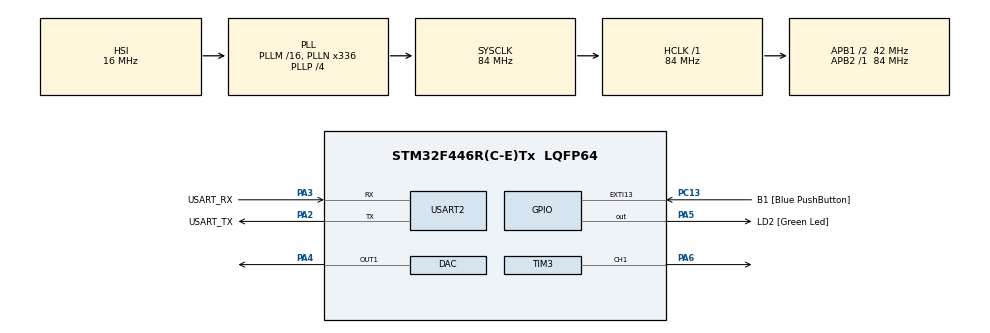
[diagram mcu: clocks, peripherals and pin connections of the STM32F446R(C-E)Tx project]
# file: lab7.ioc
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Mcu.Family=STM32F4
Mcu.Name=STM32F446R(C-E)Tx
Mcu.Package=LQFP64
NVIC.PriorityGroup=NVIC_PRIORITYGROUP_0
NVIC.TIM6_DAC_IRQn=true\:0\:0\:false\:false\:true\:true\:true\:true
PA13.GPIO_Label=TMS
PA13.Signal=SYS_JTMS-SWDIO
PA14.GPIO_Label=TCK
PA14.Signal=SYS_JTCK-SWCLK
PA2.GPIO_Label=USART_TX
PA2.Mode=Asynchronous
PA2.Signal=USART2_TX
PA3.GPIO_Label=USART_RX
PA3.Mode=Asynchronous
PA3.Signal=USART2_RX
PA4.Signal=COMP_DAC1_group
PA5.GPIO_Label=LD2 [Green Led]
PA5.Signal=GPIO_Output
PA6.Signal=S_TIM3_CH1
PB3.GPIO_Label=SWO
PB3.Signal=SYS_JTDO-SWO
PC13.GPIO_Label=B1 [Blue PushButton]
PC13.GPIO_ModeDefaultEXTI=GPIO_MODE_IT_FALLING
PC13.Signal=GPXTI13
PC14-OSC32_IN.Signal=RCC_OSC32_IN
PC15-OSC32_OUT.Signal=RCC_OSC32_OUT
PH0-OSC_IN.Signal=RCC_OSC_IN
PH1-OSC_OUT.Signal=RCC_OSC_OUT
ProjectManager.HeapSize=0x200
ProjectManager.StackSize=0x400
ProjectManager.TargetToolchain=STM32CubeIDE
RCC.AHBFreq_Value=84000000
RCC.APB1CLKDivider=RCC_HCLK_DIV2
RCC.APB1Freq_Value=42000000
RCC.APB1TimFreq_Value=84000000
RCC.APB2Freq_Value=84000000
RCC.APB2TimFreq_Value=84000000
RCC.CortexFreq_Value=84000000
RCC.FLatency-AdvancedSettings=FLASH_LATENCY_2
RCC.HCLKFreq_Value=84000000
RCC.HSE_VALUE=8000000
RCC.HSI_VALUE=16000000
RCC.LSE_VALUE=32768
RCC.PLLN=336
RCC.PLLP=RCC_PLLP_DIV4
RCC.SYSCLKFreq_VALUE=84000000
RCC.SYSCLKSource=RCC_SYSCLKSOURCE_PLLCLK
RCC.USBFreq_Value=168000000
RCC.VCOOutputFreq_Value=336000000
SH.COMP_DAC1_group.0=DAC_OUT1,DAC_OUT1
SH.S_TIM3_CH1.0=TIM3_CH1,PWM Generation1 CH1
TIM3.AutoReloadPreload=TIM_AUTORELOAD_PRELOAD_ENABLE
TIM3.Channel-PWM\ Generation1\ CH1=TIM_CHANNEL_1
TIM3.Period=1000
TIM3.Prescaler=83
TIM6.AutoReloadPreload=TIM_AUTORELOAD_PRELOAD_ENABLE
TIM6.Period=49
TIM6.Prescaler=83
USART2.VirtualMode=VM_ASYNC
VP_TIM3_VS_ClockSourceINT.Mode=Internal
VP_TIM6_VS_ClockSourceINT.Mode=Enable_Timer
board=NUCLEO-F446RE

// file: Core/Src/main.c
/* USER CODE BEGIN Header */
/**
  ******************************************************************************
  * @file           : main.c
  * @brief          : - Laboratorio 7 (Reproductor de Audio)
  ******************************************************************************
  */
/* USER CODE END Header */
#include "main.h"

/* USER CODE BEGIN Includes */
#include <stdio.h>
#include <string.h>
/* USER CODE END Includes */

/* USER CODE BEGIN PD */
/* --- Frecuencias de las notas musicales (en Hz)  */
#define NOTE_C4   262
#define NOTE_CS4  277
#define NOTE_D4   294
#define NOTE_DS4  311
#define NOTE_E4   330
#define NOTE_F4   349
#define NOTE_FS4  370
#define NOTE_G4   392
#define NOTE_GS4  415
#define NOTE_A4   440
#define NOTE_AS4  466
#define NOTE_B4   494
#define NOTE_C5   523
#define NOTE_CS5  554
#define NOTE_D5   587
#define NOTE_DS5  622
#define NOTE_E5   659
#define NOTE_F5   698
#define NOTE_FS5  740
#define NOTE_G5   784
#define NOTE_GS5  831
#define NOTE_A5   880
#define REST      0
/* USER CODE END PD */

DAC_HandleTypeDef hdac;

TIM_HandleTypeDef htim3;
TIM_HandleTypeDef htim6;

UART_HandleTypeDef huart2;

/* USER CODE BEGIN PV */
/* TEMA 1: SUPER MARIO BROS (~10 Segundos) ==================== */
const uint16_t mario_notes[] = {
    NOTE_E5, NOTE_E5, REST,    NOTE_E5, REST,    NOTE_C5, NOTE_E5, REST,
    NOTE_G5, REST,    NOTE_G4, REST,
    NOTE_C5, REST,    NOTE_G4, REST,    NOTE_E4, REST,
    NOTE_A4, REST,    NOTE_B4, REST,    NOTE_AS4, NOTE_A4, REST,
    NOTE_G4, NOTE_E5, NOTE_G5, NOTE_A5, REST,    NOTE_F5, NOTE_G5,
    REST,    NOTE_E5, REST,    NOTE_C5, NOTE_D5, NOTE_B4
};

const uint16_t mario_durations[] = {
    150, 150, 150, 150, 150, 150, 300, 150,
    450, 400, 450, 400,
    350, 200, 350, 200, 350, 200,
    300, 150, 300, 150, 200, 250, 150,
    250, 250, 250, 350, 150, 200, 350,
    150, 300, 150, 200, 200, 1000
};
const uint16_t MARIO_LEN = sizeof(mario_notes) / sizeof(mario_notes[0]);

/* TEMA 2: STAR WARS - MARCHA IMPERIAL 10s) ==================== */
const uint16_t starwars_notes[] = {
    NOTE_A4, NOTE_A4, NOTE_A4, NOTE_F4, NOTE_C5,
    NOTE_A4, NOTE_F4, NOTE_C5, NOTE_A4, REST,
    NOTE_E5, NOTE_E5, NOTE_E5, NOTE_F5, NOTE_C5,
    NOTE_GS4, NOTE_F4, NOTE_C5, NOTE_A4, REST,
    NOTE_A5, NOTE_A4, NOTE_A4, NOTE_A5, NOTE_GS5, NOTE_A5
};

const uint16_t starwars_durations[] = {
    500, 500, 500, 350, 150,
    500, 350, 150, 650, 350,
    500, 500, 500, 350, 150,
    500, 350, 150, 650, 350,
    500, 250, 250, 400, 300, 300
};
const uint16_t STARWARS_LEN = sizeof(starwars_notes) / sizeof(starwars_notes[0]);

/* Tabla senoidal precalculada de 64 muestras (12 bits) para el DAC */
const uint16_t sine_lut[64] = {
    2048, 2248, 2447, 2642, 2831, 3013, 3185, 3346,
    3495, 3630, 3750, 3853, 3939, 4007, 4056, 4085,
    4095, 4085, 4056, 4007, 3939, 3853, 3750, 3630,
    3495, 3346, 3185, 3013, 2831, 2642, 2447, 2248,
    2048, 1847, 1648, 1453, 1264, 1082,  910,  749,
     600,  465,  345,  242,  156,   88,   39,   10,
       0,   10,   39,   88,  156,  242,  345,  465,
     600,  749,  910, 1082, 1264, 1453, 1648, 1847
};

volatile uint32_t dac_phase_acc = 0;
volatile uint32_t dac_phase_step = 0;
/* USER CODE END PV */

void SystemClock_Config(void);
static void MX_GPIO_Init(void);
static void MX_TIM3_Init(void);
static void MX_USART2_UART_Init(void);
static void MX_DAC_Init(void);
static void MX_TIM6_Init(void);
/* USER CODE BEGIN PFP */
void Tocar_Tono(uint32_t freq);
void DAC_PlayTone(uint32_t freq);
void Reproducir_Tema1_Mario(void);
void Reproducir_Tema2_StarWars(void);
void Mostrar_Menu(void);
/* USER CODE END PFP */

/* USER CODE BEGIN 0 */
// Redirección de printf a la terminal USART2 (USB)
int __io_putchar(int ch) {
    HAL_UART_Transmit(&huart2, (uint8_t *)&ch, 1, HAL_MAX_DELAY);
    return ch;
}

// Configura la frecuencia del PWM en TIM3 Canal 1 (Pin PA6)
void Tocar_Tono(uint32_t freq) {
    if (freq == 0) {
        __HAL_TIM_SET_COMPARE(&htim3, TIM_CHANNEL_1, 0); // Silencio
    } else {
        // Reloj del Timer = 1 MHz -> Periodo (ARR) = (1,000,000 / freq) - 1
        uint32_t arr = (1000000 / freq) - 1;
        __HAL_TIM_SET_AUTORELOAD(&htim3, arr);
        __HAL_TIM_SET_COMPARE(&htim3, TIM_CHANNEL_1, arr / 2); // Ciclo de trabajo al 50%
    }
}

// Configura el tono analógico para el DAC (Pin PA4)
void DAC_PlayTone(uint32_t freq) {
    if (freq == 0) {
        dac_phase_step = 0;
        HAL_DAC_SetValue(&hdac, DAC_CHANNEL_1, DAC_ALIGN_12B_R, 0);
    } else {
        // Incremento de fase para TIM6 a 20 kHz
        dac_phase_step = (uint32_t)(((uint64_t)freq * 64 * 65536) / 20000);
    }
}

// Reproduce Tema 1 por PWM
void Reproducir_Tema1_Mario(void) {
    // Apagar DAC para la Forma B
    HAL_TIM_Base_Stop_IT(&htim6);
    HAL_DAC_Stop(&hdac, DAC_CHANNEL_1);
    HAL_DAC_SetValue(&hdac, DAC_CHANNEL_1, DAC_ALIGN_12B_R, 0);

    printf("\r\n Reproduce 1: Super Mario Bros (10s\r\n");
    HAL_TIM_PWM_Start(&htim3, TIM_CHANNEL_1);

    for (int i = 0; i < MARIO_LEN; i++) {
        Tocar_Tono(mario_notes[i]);
        HAL_Delay(mario_durations[i] * 0.85); // 85% sonando la nota

        Tocar_Tono(REST);
        HAL_Delay(mario_durations[i] * 0.15); // 15% pausa entre notas
    }

    Tocar_Tono(REST);
    HAL_TIM_PWM_Stop(&htim3, TIM_CHANNEL_1);
    printf(" Fin de reproduccion Audio 1.\r\n");
}

// Reproduce Tema 2 por DAC
void Reproducir_Tema2_StarWars(void) {
    // Apagar PWM para la Forma B
    Tocar_Tono(REST);
    HAL_TIM_PWM_Stop(&htim3, TIM_CHANNEL_1);

    printf("\r\n Reproduce 2: Star Wars Marcha Imperial (DAC)\r\n");
    HAL_DAC_Start(&hdac, DAC_CHANNEL_1);
    HAL_TIM_Base_Start_IT(&htim6); // Inicia interrupción del DAC a 20 kHz

    for (int i = 0; i < STARWARS_LEN; i++) {
        DAC_PlayTone(starwars_notes[i]);
        HAL_Delay(starwars_durations[i] * 0.85);

        DAC_PlayTone(REST);
        HAL_Delay(starwars_durations[i] * 0.15);
    }

    HAL_TIM_Base_Stop_IT(&htim6);
    DAC_PlayTone(REST);
    HAL_DAC_SetValue(&hdac, DAC_CHANNEL_1, DAC_ALIGN_12B_R, 0);
    HAL_DAC_Stop(&hdac, DAC_CHANNEL_1);
    printf("Fin de reproduccion Audio 2.\r\n");
}

// Despliega el menú serial requerido en la Parte 1
void Mostrar_Menu(void) {
    printf("       LABORATORIO 7 - REPRODUCTOR DE AUDIO       \r\n");
    printf(" Audios disponibles para reproducir:\r\n");
    printf("  Audio 1: Pone Super Mario Bros (PWM - 10 seg)\r\n");
    printf("   Audio 2: Pone Wars Imperial (DAC - 10 seg)\r\n");
}
/* USER CODE END 0 */

int main(void)
{

  /* MCU Configuration--------------------------------------------------------*/

  /* Reset of all peripherals, Initializes the Flash interface and the Systick. */
  HAL_Init();

  /* Configure the system clock */
  SystemClock_Config();

  /* Initialize all configured peripherals */
  MX_GPIO_Init();
  MX_TIM3_Init();
  MX_USART2_UART_Init();
  MX_DAC_Init();
  MX_TIM6_Init();
  /* USER CODE BEGIN 2 */
  // Asegurar interrupción activa para TIM6/DAC
  HAL_NVIC_SetPriority(TIM6_DAC_IRQn, 1, 0);
  HAL_NVIC_EnableIRQ(TIM6_DAC_IRQn);

  // Mostrar el menú en la terminal al iniciar
  Mostrar_Menu();
  /* USER CODE END 2 */

  /* Infinite loop */
  /* USER CODE BEGIN WHILE */
  while (1)
  {
      uint8_t opcion;

      // Esperar comando por UART (timeout de 100 ms)
      if (HAL_UART_Receive(&huart2, &opcion, 1, 100) == HAL_OK) {
          // Eco en pantalla de la tecla pulsada
          HAL_UART_Transmit(&huart2, &opcion, 1, HAL_MAX_DELAY);
          printf("\r\n");

          if (opcion == '1') {
              Reproducir_Tema1_Mario();
              Mostrar_Menu();
          }
          else if (opcion == '2') {
              Reproducir_Tema2_StarWars();
              Mostrar_Menu();
          }
          else {
              printf("\r\n[!] Comando invalido. Por favor presione '1' o '2'.\r\n");
              Mostrar_Menu();
          }
      }
    /* USER CODE END WHILE */

  }
}

void SystemClock_Config(void)
{
  RCC_OscInitTypeDef RCC_OscInitStruct = {0};
  RCC_ClkInitTypeDef RCC_ClkInitStruct = {0};

  /** Configure the main internal regulator output voltage
  */
  __HAL_RCC_PWR_CLK_ENABLE();
  __HAL_PWR_VOLTAGESCALING_CONFIG(PWR_REGULATOR_VOLTAGE_SCALE3);

  /** Initializes the RCC Oscillators according to the specified parameters
  * in the RCC_OscInitTypeDef structure.
  */
  RCC_OscInitStruct.OscillatorType = RCC_OSCILLATORTYPE_HSI;
  RCC_OscInitStruct.HSIState = RCC_HSI_ON;
  RCC_OscInitStruct.HSICalibrationValue = RCC_HSICALIBRATION_DEFAULT;
  RCC_OscInitStruct.PLL.PLLState = RCC_PLL_ON;
  RCC_OscInitStruct.PLL.PLLSource = RCC_PLLSOURCE_HSI;
  RCC_OscInitStruct.PLL.PLLM = 16;
  RCC_OscInitStruct.PLL.PLLN = 336;
  RCC_OscInitStruct.PLL.PLLP = RCC_PLLP_DIV4;
  RCC_OscInitStruct.PLL.PLLQ = 2;
  RCC_OscInitStruct.PLL.PLLR = 2;
  if (HAL_RCC_OscConfig(&RCC_OscInitStruct) != HAL_OK)
  {
    Error_Handler();
  }

  /** Initializes the CPU, AHB and APB buses clocks
  */
  RCC_ClkInitStruct.ClockType = RCC_CLOCKTYPE_HCLK|RCC_CLOCKTYPE_SYSCLK
                              |RCC_CLOCKTYPE_PCLK1|RCC_CLOCKTYPE_PCLK2;
  RCC_ClkInitStruct.SYSCLKSource = RCC_SYSCLKSOURCE_PLLCLK;
  RCC_ClkInitStruct.AHBCLKDivider = RCC_SYSCLK_DIV1;
  RCC_ClkInitStruct.APB1CLKDivider = RCC_HCLK_DIV2;
  RCC_ClkInitStruct.APB2CLKDivider = RCC_HCLK_DIV1;

  if (HAL_RCC_ClockConfig(&RCC_ClkInitStruct, FLASH_LATENCY_2) != HAL_OK)
  {
    Error_Handler();
  }
}

static void MX_DAC_Init(void)
{

  DAC_ChannelConfTypeDef sConfig = {0};

  /** DAC Initialization
  */
  hdac.Instance = DAC;
  if (HAL_DAC_Init(&hdac) != HAL_OK)
  {
    Error_Handler();
  }

  /** DAC channel OUT1 config
  */
  sConfig.DAC_Trigger = DAC_TRIGGER_NONE;
  sConfig.DAC_OutputBuffer = DAC_OUTPUTBUFFER_ENABLE;
  if (HAL_DAC_ConfigChannel(&hdac, &sConfig, DAC_CHANNEL_1) != HAL_OK)
  {
    Error_Handler();
  }

}

static void MX_TIM3_Init(void)
{

  TIM_ClockConfigTypeDef sClockSourceConfig = {0};
  TIM_MasterConfigTypeDef sMasterConfig = {0};
  TIM_OC_InitTypeDef sConfigOC = {0};

  htim3.Instance = TIM3;
  htim3.Init.Prescaler = 83;
  htim3.Init.CounterMode = TIM_COUNTERMODE_UP;
  htim3.Init.Period = 1000;
  htim3.Init.ClockDivision = TIM_CLOCKDIVISION_DIV1;
  htim3.Init.AutoReloadPreload = TIM_AUTORELOAD_PRELOAD_ENABLE;
  if (HAL_TIM_Base_Init(&htim3) != HAL_OK)
  {
    Error_Handler();
  }
  sClockSourceConfig.ClockSource = TIM_CLOCKSOURCE_INTERNAL;
  if (HAL_TIM_ConfigClockSource(&htim3, &sClockSourceConfig) != HAL_OK)
  {
    Error_Handler();
  }
  if (HAL_TIM_PWM_Init(&htim3) != HAL_OK)
  {
    Error_Handler();
  }
  sMasterConfig.MasterOutputTrigger = TIM_TRGO_RESET;
  sMasterConfig.MasterSlaveMode = TIM_MASTERSLAVEMODE_DISABLE;
  if (HAL_TIMEx_MasterConfigSynchronization(&htim3, &sMasterConfig) != HAL_OK)
  {
    Error_Handler();
  }
  sConfigOC.OCMode = TIM_OCMODE_PWM1;
  sConfigOC.Pulse = 0;
  sConfigOC.OCPolarity = TIM_OCPOLARITY_HIGH;
  sConfigOC.OCFastMode = TIM_OCFAST_DISABLE;
  if (HAL_TIM_PWM_ConfigChannel(&htim3, &sConfigOC, TIM_CHANNEL_1) != HAL_OK)
  {
    Error_Handler();
  }
  HAL_TIM_MspPostInit(&htim3);

}

static void MX_TIM6_Init(void)
{

  TIM_MasterConfigTypeDef sMasterConfig = {0};

  htim6.Instance = TIM6;
  htim6.Init.Prescaler = 83;
  htim6.Init.CounterMode = TIM_COUNTERMODE_UP;
  htim6.Init.Period = 49;
  htim6.Init.AutoReloadPreload = TIM_AUTORELOAD_PRELOAD_ENABLE;
  if (HAL_TIM_Base_Init(&htim6) != HAL_OK)
  {
    Error_Handler();
  }
  sMasterConfig.MasterOutputTrigger = TIM_TRGO_RESET;
  sMasterConfig.MasterSlaveMode = TIM_MASTERSLAVEMODE_DISABLE;
  if (HAL_TIMEx_MasterConfigSynchronization(&htim6, &sMasterConfig) != HAL_OK)
  {
    Error_Handler();
  }

}

static void MX_USART2_UART_Init(void)
{

  huart2.Instance = USART2;
  huart2.Init.BaudRate = 115200;
  huart2.Init.WordLength = UART_WORDLENGTH_8B;
  huart2.Init.StopBits = UART_STOPBITS_1;
  huart2.Init.Parity = UART_PARITY_NONE;
  huart2.Init.Mode = UART_MODE_TX_RX;
  huart2.Init.HwFlowCtl = UART_HWCONTROL_NONE;
  huart2.Init.OverSampling = UART_OVERSAMPLING_16;
  if (HAL_UART_Init(&huart2) != HAL_OK)
  {
    Error_Handler();
  }

}

static void MX_GPIO_Init(void)
{
  GPIO_InitTypeDef GPIO_InitStruct = {0};

  /* GPIO Ports Clock Enable */
  __HAL_RCC_GPIOC_CLK_ENABLE();
  __HAL_RCC_GPIOH_CLK_ENABLE();
  __HAL_RCC_GPIOA_CLK_ENABLE();
  __HAL_RCC_GPIOB_CLK_ENABLE();

  /*Configure GPIO pin Output Level */
  HAL_GPIO_WritePin(LD2_GPIO_Port, LD2_Pin, GPIO_PIN_RESET);

  /*Configure GPIO pin : B1_Pin */
  GPIO_InitStruct.Pin = B1_Pin;
  GPIO_InitStruct.Mode = GPIO_MODE_IT_FALLING;
  GPIO_InitStruct.Pull = GPIO_NOPULL;
  HAL_GPIO_Init(B1_GPIO_Port, &GPIO_InitStruct);

  /*Configure GPIO pin : LD2_Pin */
  GPIO_InitStruct.Pin = LD2_Pin;
  GPIO_InitStruct.Mode = GPIO_MODE_OUTPUT_PP;
  GPIO_InitStruct.Pull = GPIO_NOPULL;
  GPIO_InitStruct.Speed = GPIO_SPEED_FREQ_LOW;
  HAL_GPIO_Init(LD2_GPIO_Port, &GPIO_InitStruct);

}

/* USER CODE BEGIN 4 */
// Callback de TIM6 a 20 kHz que actualiza el valor analógico del DAC en PA4
void HAL_TIM_PeriodElapsedCallback(TIM_HandleTypeDef *htim) {
    if (htim->Instance == TIM6) {
        if (dac_phase_step > 0) {
            dac_phase_acc += dac_phase_step;
            uint8_t index = (dac_phase_acc >> 16) & 0x3F; // Máscara de 64 muestras
            HAL_DAC_SetValue(&hdac, DAC_CHANNEL_1, DAC_ALIGN_12B_R, sine_lut[index]);
        }
    }
}
/* USER CODE END 4 */

void Error_Handler(void)
{
  __disable_irq();
  while (1)
  {
  }
}
